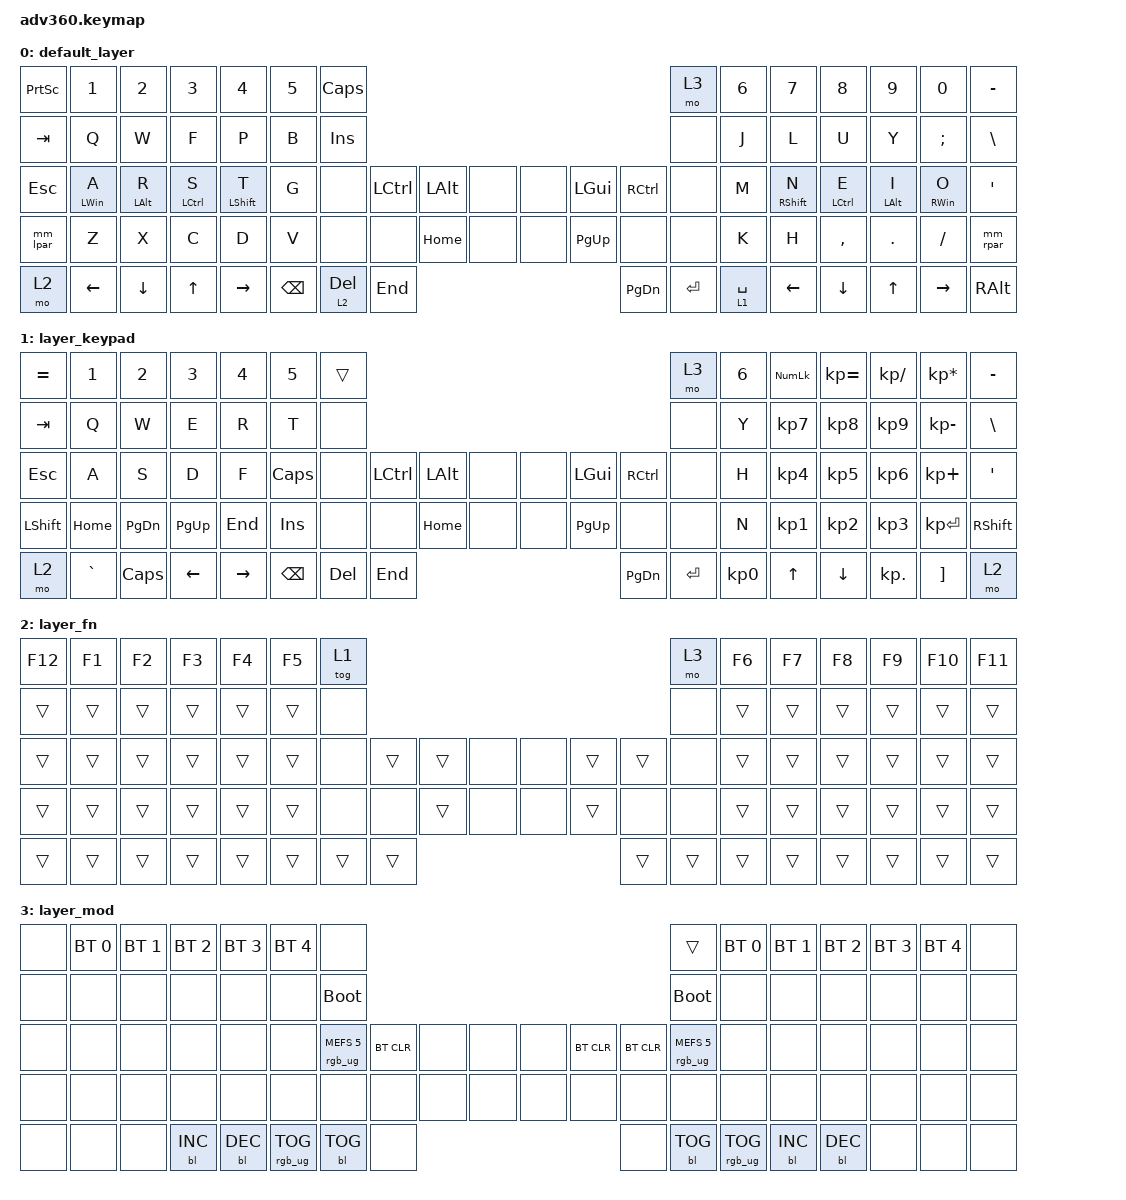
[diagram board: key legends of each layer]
#include <behaviors.dtsi>
#include <dt-bindings/zmk/keys.h>
#include <dt-bindings/zmk/bt.h>
#include <dt-bindings/zmk/rgb.h>
#include <dt-bindings/zmk/backlight.h>

/ {
    behaviors {
      #include "macros.dtsi"

      hm: homerow_mods {
          compatible = "zmk,behavior-hold-tap";
          label = "HOMEROW_MODS";
          #binding-cells = <2>;
          tapping-term-ms = <200>;
          quick_tap_ms = <175>;
          flavor = "tap-preferred";
          bindings = <&kp>, <&kp>;
      };
    };

    keymap {
        compatible = "zmk,keymap";


        default_layer {
            bindings = <
 &kp PRINTSCREEN     &kp N1    &kp N2    &kp N3     &kp N4  &kp N5              &kp CAPS                                                                 &mo 3  &kp N6  &kp N7     &kp N8    &kp N9    &kp N0  &kp MINUS
         &kp TAB      &kp Q     &kp W     &kp F      &kp P   &kp B               &kp INS                                                                 &none   &kp J	&kp L	&kp U	&kp Y	&kp SEMI   &kp BSLH
         &kp ESC      &bhm LWIN A	&bhm LALT R	&bhm LCTRL S	&bhm LSHFT T  &kp G               &none  &kp LCTRL  &kp LALT   &none   &none   &kp LGUI  &kp RCTRL      &none   &kp M	&bhm RSHFT N	&bhm LCTRL E	&bhm LALT I	&bhm RWIN O    &kp SQT
       &mm_lpar      &kp Z     &kp X     &kp C      &kp D   &kp V               &none      &none  &kp HOME   &none   &none  &kp PG_UP      &none      &none   &kp K   &kp H  &kp COMMA   &kp DOT  &kp FSLH  &mm_rpar
           &mo 2  &kp LEFT	&kp DOWN	&kp UP	&kp RIGHT                   &kp BSPC    &lt 2 DEL   &kp END                  &kp PG_DN  &kp ENTER  &lt 1 SPACE          &kp LEFT	&kp DOWN	&kp UP	&kp RIGHT      &kp RALT
            >;
        };

        layer_keypad {
            bindings = <
 &kp EQUAL     &kp N1    &kp N2    &kp N3     &kp N4  &kp N5              &trans                                                                 &mo 3  &kp N6  &kp KP_NUM  &kp KP_EQUAL  &kp KP_DIVIDE  &kp KP_MULTIPLY  &kp MINUS
   &kp TAB      &kp Q     &kp W     &kp E      &kp R   &kp T               &none                                                                 &none   &kp Y   &kp KP_N7     &kp KP_N8      &kp KP_N9     &kp KP_MINUS   &kp BSLH
   &kp ESC      &kp A     &kp S     &kp D      &kp F   &kp CAPS               &none  &kp LCTRL  &kp LALT   &none   &none   &kp LGUI  &kp RCTRL      &none   &kp H   &kp KP_N4     &kp KP_N5      &kp KP_N6      &kp KP_PLUS    &kp SQT
 &kp LSHFT      &kp HOME	&kp PG_DN	&kp PG_UP	&kp END	&kp INS               &none      &none  &kp HOME   &none   &none  &kp PG_UP      &none      &none   &kp N   &kp KP_N1     &kp KP_N2      &kp KP_N3     &kp KP_ENTER  &kp RSHFT
     &mo 2  &kp GRAVE  &kp CAPS  &kp LEFT  &kp RIGHT                    &kp BSPC    &kp DEL   &kp END                  &kp PG_DN  &kp ENTER  &kp KP_N0              &kp UP      &kp DOWN     &kp KP_DOT         &kp RBKT      &mo 2
            >;
        };

        layer_fn {
            bindings = <
 &kp F12 &kp F1  &kp F2  &kp F3  &kp F4  &kp F5             &tog 1                                                  &mo 3  &kp F6  &kp F7  &kp F8   &kp F9   &kp F10  &kp F11
 &trans  &trans  &trans  &trans  &trans  &trans             &none                                                   &none  &trans  &trans  &trans   &trans   &trans   &trans
 &trans  &trans  &trans  &trans  &trans  &trans             &none  &trans  &trans   &none   &none  &trans  &trans   &none  &trans  &trans  &trans   &trans   &trans   &trans
 &trans  &trans  &trans  &trans  &trans  &trans             &none   &none  &trans   &none   &none  &trans   &none   &none  &trans  &trans  &trans   &trans   &trans   &trans
 &trans  &trans  &trans  &trans  &trans                    &trans  &trans  &trans                  &trans  &trans  &trans          &trans  &trans   &trans   &trans   &trans
            >;
        };

        layer_mod {
            bindings = <
  &none  &bt BT_SEL 0  &bt BT_SEL 1  &bt BT_SEL 2  &bt BT_SEL 3  &bt BT_SEL 4                             &none                                                                              &trans  &bt BT_SEL 0  &bt BT_SEL 1  &bt BT_SEL 2  &bt BT_SEL 3  &bt BT_SEL 4   &none
  &none         &none         &none         &none         &none         &none                       &bootloader                                                                         &bootloader         &none         &none         &none         &none         &none   &none
  &none         &none         &none         &none         &none         &none            &rgb_ug RGB_MEFS_CMD 5  &bt BT_CLR   &none   &none   &none  &bt BT_CLR  &bt BT_CLR  &rgb_ug RGB_MEFS_CMD 5         &none         &none         &none         &none         &none   &none
  &none         &none         &none         &none         &none         &none                             &none       &none   &none   &none   &none       &none       &none                   &none         &none         &none         &none         &none         &none   &none
  &none         &none         &none    &bl BL_INC    &bl BL_DEC                                 &rgb_ug RGB_TOG  &bl BL_TOG   &none                       &none  &bl BL_TOG         &rgb_ug RGB_TOG                  &bl BL_INC    &bl BL_DEC         &none         &none   &none
            >;
        };

    };
};
